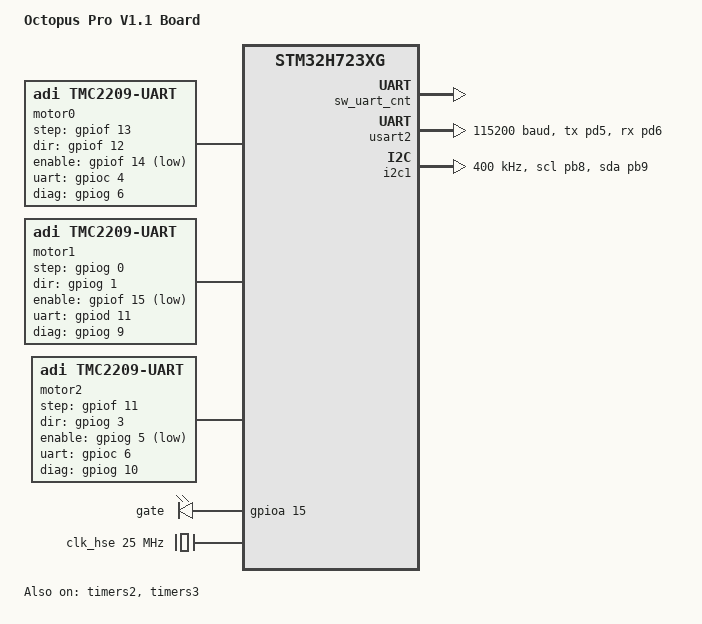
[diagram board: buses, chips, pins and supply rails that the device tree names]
// SPDX-License-Identifier: CC0-1.0
/dts-v1/;
#include <st/h7/stm32h723Xg.dtsi>
#include <st/h7/stm32h723zgtx-pinctrl.dtsi>

/ {
	model = "Octopus Pro V1.1 Board";
	compatible = "btt,octopus-pro";

	chosen {
		zephyr,console = &usart2;
		zephyr,shell-uart = &usart2;
		zephyr,sram = &sram0;
		zephyr,flash = &flash0;
		zephyr,dtcm = &dtcm;
	};

	/* Reserve SWD pins PA13 (SWDIO) and PA14 (SWCLK) for debugging */
	reserved-gpios = <&gpioa 13 0>, <&gpioa 14 0>;

	/*
	 * Octopus Pro configuration with TMC2209 stepper drivers and EDM pulser
	 * - TMC2209: Trinamic stepper drivers with stallGuard and UART interface
	 * - Pulser: External EDM discharge control board via I2C
	 */
	motor0: motor0 {
		compatible = "adi,tmc2209-uart";
		step-gpios = <&gpiof 13 GPIO_ACTIVE_HIGH>;
		dir-gpios = <&gpiof 12 GPIO_ACTIVE_HIGH>;
		enable-gpios = <&gpiof 14 GPIO_ACTIVE_LOW>;
		uart-gpios = <&gpioc 4 GPIO_ACTIVE_HIGH>;
		diag-gpios = <&gpiog 6 GPIO_ACTIVE_HIGH>;
		uart-timer = <&sw_uart_cnt>;
	};

	motor1: motor1 {
		compatible = "adi,tmc2209-uart";
		step-gpios = <&gpiog 0 GPIO_ACTIVE_HIGH>;
		dir-gpios = <&gpiog 1 GPIO_ACTIVE_HIGH>;
		enable-gpios = <&gpiof 15 GPIO_ACTIVE_LOW>;
		uart-gpios = <&gpiod 11 GPIO_ACTIVE_HIGH>;
		diag-gpios = <&gpiog 9 GPIO_ACTIVE_HIGH>;
		uart-timer = <&sw_uart_cnt>;
	};

	motor2: motor2 {
		compatible = "adi,tmc2209-uart";
		step-gpios = <&gpiof 11 GPIO_ACTIVE_HIGH>;
		dir-gpios = <&gpiog 3 GPIO_ACTIVE_HIGH>;
		enable-gpios = <&gpiog 5 GPIO_ACTIVE_LOW>;
		uart-gpios = <&gpioc 6 GPIO_ACTIVE_HIGH>;
		diag-gpios = <&gpiog 10 GPIO_ACTIVE_HIGH>;
		uart-timer = <&sw_uart_cnt>;
	};

	pulser: pulser {
		compatible = "gpio-leds";
		gate {
			gpios = <&gpioa 15 GPIO_ACTIVE_HIGH>;
		};
	};
};


&timers2 {
	status = "okay";
	st,prescaler = <119>; // 120MHz (APB1 clock) -> 1MHz tick

	sw_uart_cnt: counter {
		status = "okay";
	};
};

&timers3 {
	status = "okay";
	st,prescaler = <119>; // 120MHz (APB1 clock) -> 1MHz tick

	step_gen_cnt: counter {
		status = "okay";
	};
};

&clk_hse {
	clock-frequency = <DT_FREQ_M(25)>;
	status = "okay";
};

/* Disable LSE (32kHz external oscillator) to free up PC14/PC15 for GPIO */
&clk_lse {
	status = "disabled";
};

&rtc {
	status = "disabled";
};

&pll {
	div-m = <5>;
	mul-n = <110>;
	div-p = <1>;
	div-q = <4>;
	div-r = <2>;
	clocks = <&clk_hse>;
	status = "okay";
};

&rcc {
	clocks = <&pll>;
	clock-frequency = <DT_FREQ_M(550)>;
	d1cpre = <1>;
	hpre = <2>;
	d1ppre = <2>;
	d2ppre1 = <2>;
	d2ppre2 = <2>;
	d3ppre = <2>;
};

&usart2 {
	status = "okay";
	current-speed = <115200>;
	pinctrl-0 = <&usart2_tx_pd5 &usart2_rx_pd6>;
	pinctrl-names = "default";
};

&i2c1 {
	status = "okay";
	clock-frequency = <I2C_BITRATE_FAST>; /* 400kHz */
	pinctrl-0 = <&i2c1_scl_pb8 &i2c1_sda_pb9>;
	pinctrl-names = "default";
};

&gpioa {
	status = "okay";
};

&gpiob {
	status = "okay";
};

&gpioc {
	status = "okay";
};

&gpiod {
	status = "okay";
};

&gpioe {
	status = "okay";
};

&gpiof {
	status = "okay";
};

&gpiog {
	status = "okay";
};

&pinctrl {
	/* USART2 can use PD5 (TX) and PD6 (RX) */
	usart2_tx_pd5: usart2_tx_pd5 {
		pinmux = <STM32_PINMUX('D', 5, AF7)>;
	};

	usart2_rx_pd6: usart2_rx_pd6 {
		pinmux = <STM32_PINMUX('D', 6, AF7)>;
	};

	/* I2C1 for pulser board - PB8 (SCL) and PB9 (SDA) */
	i2c1_scl_pb8: i2c1_scl_pb8 {
		pinmux = <STM32_PINMUX('B', 8, AF4)>;
		bias-pull-up;
		drive-open-drain;
	};

	i2c1_sda_pb9: i2c1_sda_pb9 {
		pinmux = <STM32_PINMUX('B', 9, AF4)>;
		bias-pull-up;
		drive-open-drain;
	};
};
